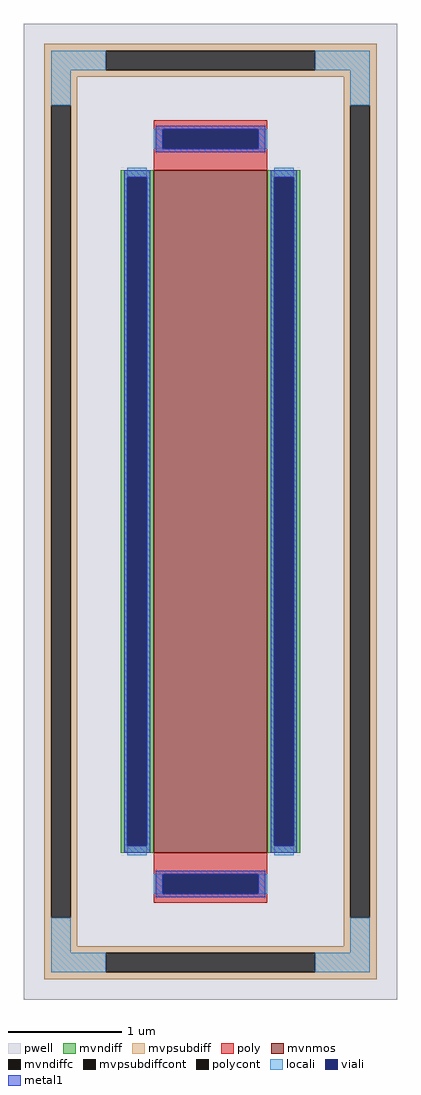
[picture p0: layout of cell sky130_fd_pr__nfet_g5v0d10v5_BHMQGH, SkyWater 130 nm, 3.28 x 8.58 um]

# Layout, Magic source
magic
tech sky130A
<< pwell >>
rect -164 -429 164 429
<< mvnmos >>
rect -50 -300 50 300
<< mvndiff >>
rect -79 294 -50 300
rect -79 -294 -73 294
rect -56 -294 -50 294
rect -79 -300 -50 -294
rect 50 294 79 300
rect 50 -294 56 294
rect 73 -294 79 294
rect 50 -300 79 -294
<< mvndiffc >>
rect -73 -294 -56 294
rect 56 -294 73 294
<< mvpsubdiff >>
rect -146 405 146 411
rect -146 388 -92 405
rect 92 388 146 405
rect -146 382 146 388
rect -146 357 -117 382
rect -146 -357 -140 357
rect -123 -357 -117 357
rect 117 357 146 382
rect -146 -382 -117 -357
rect 117 -357 123 357
rect 140 -357 146 357
rect 117 -382 146 -357
rect -146 -388 146 -382
rect -146 -405 -92 -388
rect 92 -405 146 -388
rect -146 -411 146 -405
<< mvpsubdiffcont >>
rect -92 388 92 405
rect -140 -357 -123 357
rect 123 -357 140 357
rect -92 -405 92 -388
<< poly >>
rect -50 336 50 344
rect -50 319 -42 336
rect 42 319 50 336
rect -50 300 50 319
rect -50 -319 50 -300
rect -50 -336 -42 -319
rect 42 -336 50 -319
rect -50 -344 50 -336
<< polycont >>
rect -42 319 42 336
rect -42 -336 42 -319
<< locali >>
rect -140 388 -92 405
rect 92 388 140 405
rect -140 357 -123 388
rect 123 357 140 388
rect -50 319 -42 336
rect 42 319 50 336
rect -73 294 -56 302
rect -73 -302 -56 -294
rect 56 294 73 302
rect 56 -302 73 -294
rect -50 -336 -42 -319
rect 42 -336 50 -319
rect -140 -388 -123 -357
rect 123 -388 140 -357
rect -140 -405 -92 -388
rect 92 -405 140 -388
<< viali >>
rect -42 319 42 336
rect -73 -294 -56 294
rect 56 -294 73 294
rect -42 -336 42 -319
<< metal1 >>
rect -48 336 48 339
rect -48 319 -42 336
rect 42 319 48 336
rect -48 316 48 319
rect -76 294 -53 300
rect -76 -294 -73 294
rect -56 -294 -53 294
rect -76 -300 -53 -294
rect 53 294 76 300
rect 53 -294 56 294
rect 73 -294 76 294
rect 53 -300 76 -294
rect -48 -319 48 -316
rect -48 -336 -42 -319
rect 42 -336 48 -319
rect -48 -339 48 -336
<< properties >>
string FIXED_BBOX -131 -396 131 396
string gencell sky130_fd_pr__nfet_g5v0d10v5
string library sky130
string parameters w 6.0 l 1.0 m 1 nf 1 diffcov 100 polycov 100 guard 1 glc 1 grc 1 gtc 1 gbc 1 tbcov 100 rlcov 100 topc 1 botc 1 poverlap 0 doverlap 1 lmin 0.50 wmin 0.42 compatible {sky130_fd_pr__nfet_01v8 sky130_fd_pr__nfet_01v8_lvt  sky130_fd_bs_flash__special_sonosfet_star  sky130_fd_pr__nfet_g5v0d10v5 sky130_fd_pr__nfet_05v0_nvt  sky130_fd_pr__nfet_03v3_nvt} full_metal 1 viasrc 100 viadrn 100 viagate 100 viagb 0 viagr 0 viagl 0 viagt 0
<< end >>
